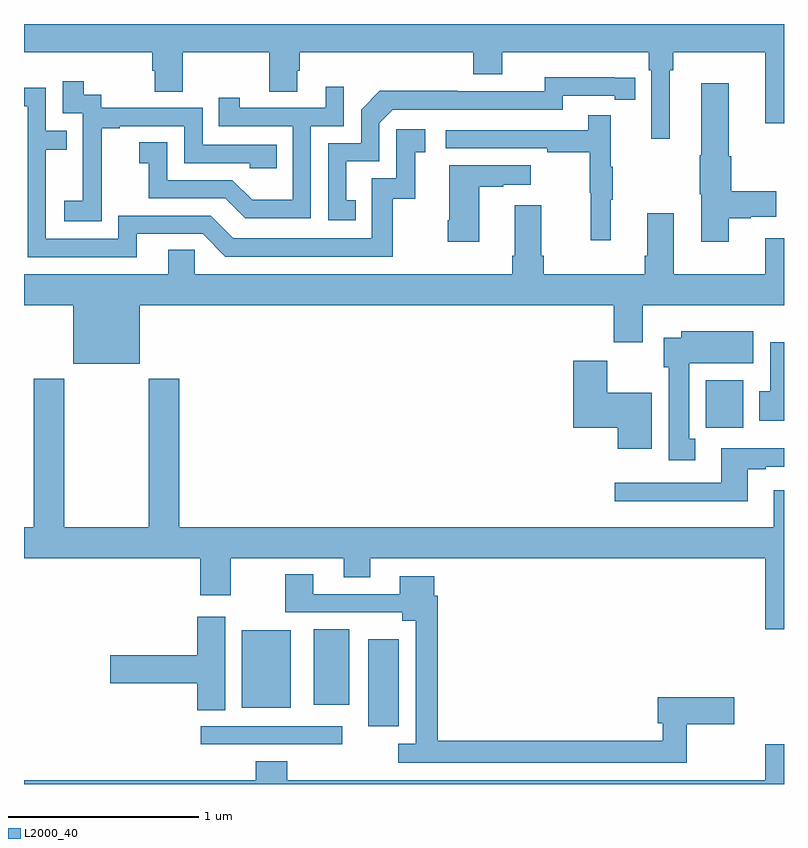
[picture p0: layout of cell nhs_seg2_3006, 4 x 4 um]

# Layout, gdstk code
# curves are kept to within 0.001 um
import gdstk
lib = gdstk.Library(unit=1e-6, precision=1e-09)
def R(c, l, rs):  # rectangles x0, y0, x1, y1
    for r in rs: c.add(gdstk.rectangle(r[:2], r[2:], *l))
def P(c, l, *ps):  # polygons
    for p in ps: c.add(gdstk.Polygon(p, *l))
L2000_40 = (2000, 40)

nhs_seg2_3006 = lib.new_cell('nhs_seg2_3006')
R(nhs_seg2_3006, L2000_40, [(269.931,628.008,270.676,628.104), (270.812,628.103,270.973,628.561), (270.146,628.202,270.403,628.609), (270.524,628.217,270.712,628.615), (272.589,629.676,272.785,629.926)])
P(nhs_seg2_3006, L2000_40, [(272.398,631.556),(272.417,631.556),(272.417,631.652),(272.9,631.652),(272.9,631.278),(273,631.278),(273,631.8),(269,631.8),(269,631.652),(269.675,631.652),(269.675,631.554),(269.687,631.554),(269.687,631.444),(269.835,631.444),(269.835,631.652),(270.292,631.652),(270.292,631.444),(270.439,631.444),(270.439,631.554),(270.452,631.554),(270.452,631.652),(271.364,631.652),(271.364,631.535),(271.516,631.535),(271.516,631.652),(272.288,631.652),(272.288,631.556),(272.301,631.556),(272.301,631.197),(272.398,631.197)],
  [(270.746,630.873),(270.697,630.873),(270.697,631.077),(270.87,631.077),(270.87,631.278),(270.942,631.35),(271.836,631.35),(271.836,631.422),(272.108,631.422),(272.108,631.402),(272.216,631.402),(272.216,631.518),(271.74,631.519),(271.74,631.446),(271.28,631.446),(271.28,631.448),(270.872,631.448),(270.774,631.35),(270.774,631.173),(270.6,631.173),(270.6,630.768),(270.746,630.768)],
  [(269.409,630.967),(269.408,630.967),(269.408,631.251),(269.503,631.251),(269.503,631.263),(269.844,631.263),(269.844,631.068),(270.189,631.068),(270.189,631.041),(270.329,631.041),(270.329,631.164),(269.94,631.164),(269.94,631.359),(269.406,631.359),(269.406,631.428),(269.314,631.428),(269.314,631.498),(269.205,631.498),(269.205,631.329),(269.31,631.329),(269.31,631.1),(269.309,631.1),(269.309,630.871),(269.211,630.871),(269.211,630.761),(269.409,630.761)],
  [(272.71,630.778),(272.826,630.778),(272.826,630.785),(272.959,630.785),(272.959,630.92),(272.723,630.92),(272.723,631.103),(272.71,631.103),(272.71,631.489),(272.564,631.489),(272.564,631.109),(272.557,631.109),(272.557,630.903),(272.564,630.903),(272.564,630.654),(272.71,630.654)],
  [(270.51,631.263),(270.684,631.263),(270.684,631.471),(270.587,631.471),(270.587,631.359),(270.136,631.359),(270.136,631.411),(270.025,631.411),(270.025,631.263),(270.414,631.263),(270.414,630.874),(270.2,630.874),(270.096,630.978),(269.754,630.978),(269.754,631.177),(269.607,631.177),(269.607,631.067),(269.656,631.067),(269.656,630.882),(270.059,630.882),(270.164,630.777),(270.51,630.777)],
  [(269.593,630.696),(269.94,630.696),(270.06,630.576),(270.94,630.576),(270.94,630.879),(271.058,630.879),(271.058,631.125),(271.111,631.125),(271.111,631.246),(270.96,631.246),(270.96,630.987),(270.831,630.987),(270.831,630.672),(270.102,630.672),(269.982,630.792),(269.496,630.792),(269.496,630.669),(269.115,630.669),(269.115,631.138),(269.225,631.138),(269.225,631.239),(269.115,631.239),(269.115,631.464),(269,631.464),(269,631.368),(269.019,631.368),(269.019,630.573),(269.593,630.573)],
  [(272.087,630.875),(272.098,630.875),(272.098,631.049),(272.087,631.049),(272.087,631.321),(271.969,631.321),(271.969,631.242),(271.221,631.242),(271.221,631.146),(271.753,631.146),(271.753,631.126),(271.977,631.126),(271.977,630.912),(271.984,630.912),(271.984,630.663),(272.087,630.663)],
  [(271.396,630.943),(271.523,630.943),(271.523,630.953),(271.666,630.953),(271.666,631.057),(271.238,631.057),(271.238,630.766),(271.231,630.766),(271.231,630.654),(271.396,630.654)],
  [(269.608,630.32),(272.105,630.32),(272.105,630.126),(272.257,630.126),(272.257,630.32),(273,630.32),(273,630.673),(272.9,630.673),(272.9,630.484),(272.419,630.484),(272.419,630.805),(272.279,630.805),(272.279,630.58),(272.267,630.58),(272.267,630.484),(271.736,630.484),(271.736,630.58),(271.723,630.58),(271.723,630.847),(271.583,630.847),(271.583,630.58),(271.571,630.58),(271.571,630.484),(269.898,630.484),(269.898,630.611),(269.759,630.611),(269.759,630.484),(269,630.484),(269,630.32),(269.258,630.32),(269.258,630.011),(269.608,630.011)],
  [(272.533,629.617),(272.5,629.617),(272.5,630.014),(272.839,630.014),(272.839,630.184),(272.459,630.184),(272.459,630.148),(272.366,630.148),(272.366,629.994),(272.393,629.994),(272.393,629.505),(272.533,629.505)],
  [(273,630.126),(272.927,630.126),(272.927,629.868),(272.87,629.868),(272.87,629.712),(273,629.712)],
  [(272.305,629.86),(272.07,629.86),(272.07,630.028),(271.892,630.028),(271.892,629.675),(272.126,629.675),(272.126,629.564),(272.305,629.564)],
  [(269.816,629.932),(269.656,629.932),(269.656,629.152),(269.211,629.152),(269.211,629.932),(269.051,629.932),(269.051,629.152),(269,629.152),(269,628.988),(269.927,628.988),(269.927,628.794),(270.087,628.794),(270.087,628.988),(270.683,628.988),(270.683,628.889),(270.823,628.889),(270.823,628.988),(272.9,628.988),(272.9,628.614),(273,628.614),(273,629.347),(272.945,629.347),(272.945,629.152),(269.816,629.152)],
  [(272.809,629.457),(272.905,629.457),(272.905,629.469),(273,629.469),(273,629.566),(272.669,629.566),(272.669,629.385),(272.109,629.385),(272.109,629.288),(272.809,629.288)],
  [(272.488,628.114),(272.737,628.114),(272.737,628.256),(272.336,628.256),(272.336,628.121),(272.363,628.121),(272.363,628.028),(271.178,628.028),(271.178,628.79),(271.159,628.79),(271.159,628.894),(270.977,628.894),(270.977,628.8),(270.523,628.8),(270.523,628.903),(270.376,628.903),(270.376,628.704),(270.992,628.704),(270.992,628.658),(271.062,628.658),(271.062,628.012),(270.969,628.012),(270.969,627.912),(272.488,627.912)],
  [(270.058,628.681),(269.912,628.681),(269.912,628.478),(269.454,628.478),(269.454,628.331),(269.912,628.331),(269.912,628.189),(270.058,628.189)],
  [(273,628.009),(272.9,628.009),(272.9,627.82),(270.386,627.82),(270.386,627.919),(270.221,627.919),(270.221,627.82),(269,627.82),(269,627.8),(273,627.8)])

lib.write_gds('nhs_seg2_3006.gds')
